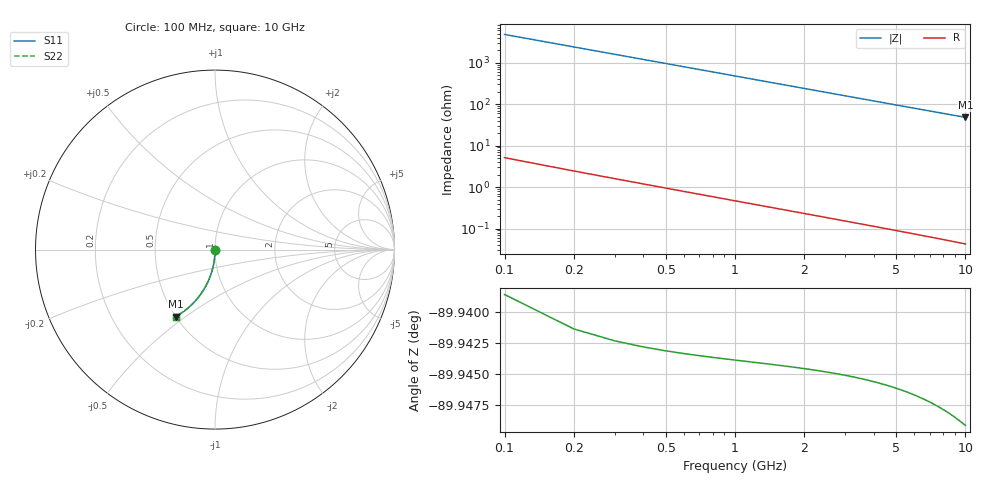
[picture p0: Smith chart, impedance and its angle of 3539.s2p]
# Hz S RI R 50.00
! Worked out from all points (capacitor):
!   100 points, 100 MHz to 10 GHz, reference 50 ohm
!   read as one part in shunt: C = 334 fF near 100 MHz
!   lowest |Z| = 48 ohm at 10 GHz (marker M1)
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1e8  0.000152 -0.00484  0.9998 -0.00565  0.9998 -0.00565  0.000152 -0.00484
2e8  6.64e-05 -0.00967  0.9997 -0.0113  0.9997 -0.0113  6.64e-05 -0.00967
3e8  -7.44e-05 -0.0145  0.9995 -0.0169  0.9995 -0.0169  -7.44e-05 -0.0145
4e8  -0.00027 -0.0193  0.9993 -0.0226  0.9993 -0.0226  -0.00027 -0.0193
5e8  -0.00052 -0.0242  0.9991 -0.0282  0.9991 -0.0282  -0.00052 -0.0242
6e8  -0.000825 -0.029  0.9988 -0.0339  0.9988 -0.0339  -0.000825 -0.029
7e8  -0.00118 -0.0338  0.9984 -0.0395  0.9984 -0.0395  -0.00118 -0.0338
8e8  -0.0016 -0.0386  0.998 -0.0451  0.998 -0.0451  -0.0016 -0.0386
9e8  -0.00206 -0.0434  0.9975 -0.0507  0.9975 -0.0507  -0.00206 -0.0434
1.1e9  -0.00316 -0.053  0.9964 -0.062  0.9964 -0.062  -0.00316 -0.053
1.4e9  -0.00521 -0.0674  0.9943 -0.0787  0.9943 -0.0787  -0.00521 -0.0674
1.8e9  -0.00869 -0.0863  0.9908 -0.1009  0.9908 -0.1009  -0.00869 -0.0863
2.1e9  -0.0118 -0.1004  0.9876 -0.1174  0.9876 -0.1174  -0.0118 -0.1004
2.5e9  -0.0168 -0.1189  0.9826 -0.1392  0.9826 -0.1392  -0.0168 -0.1189
2.9e9  -0.0225 -0.1371  0.9768 -0.1606  0.9768 -0.1606  -0.0225 -0.1371
3.4e9  -0.0307 -0.1593  0.9685 -0.1869  0.9685 -0.1869  -0.0307 -0.1593
4.2e9  -0.0463 -0.1936  0.9527 -0.2277  0.9527 -0.2277  -0.0463 -0.1936
5.1e9  -0.0669 -0.2298  0.9318 -0.2712  0.9318 -0.2712  -0.0669 -0.2298
5.9e9  -0.0878 -0.2596  0.9106 -0.3077  0.9106 -0.3077  -0.0878 -0.2596
6.7e9  -0.1107 -0.2871  0.8874 -0.3417  0.8874 -0.3417  -0.1107 -0.2871
8.4e9  -0.1644 -0.337  0.8328 -0.4057  0.8328 -0.4057  -0.1644 -0.337
1e10  -0.219 -0.3733  0.7772 -0.4554  0.7772 -0.4554  -0.219 -0.3733
